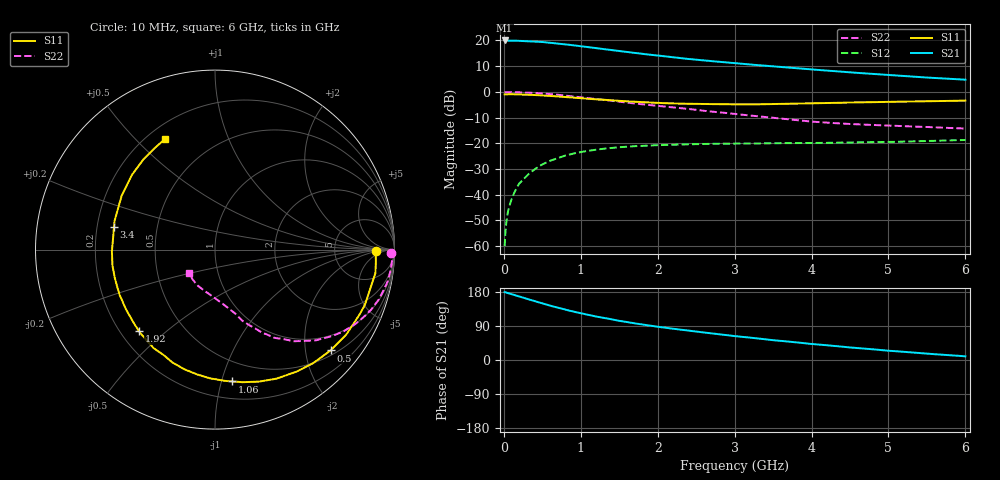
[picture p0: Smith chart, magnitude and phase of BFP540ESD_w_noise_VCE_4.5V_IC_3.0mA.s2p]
! Infineon Technologies  Discrete & RF Semiconductors
! BFP540ESD
! VCE =  4.5 V,  IC =  3.0 mA
! Common Emitter S-Parameters:  Nov 2015
# GHz  S  MA  R  50
!  f  S11  S21  S12  S22
! GHz  MAG  ANG  MAG  ANG  MAG  ANG  MAG  ANG
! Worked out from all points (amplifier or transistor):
!   210 points, 10 MHz to 6 GHz, reference 50 ohm
!   highest |S21| = 20.0 dB at 10 MHz (marker M1)
!   |S21| within 3 dB of that: start of sweep to 1.201 GHz
!   unconditionally stable (mu >= 1): 3.758 GHz to end of sweep
!   at 185 MHz: K = 0.08, MSG = 28.1 dB, |S12| = -36.4 dB
!   at 1.52 GHz: K = 0.34, MSG = 18.6 dB, |S12| = -21.5 dB
!   at 6 GHz: K = 1.31, MAG = 8.4 dB, |S12| = -18.7 dB
!   lowest NFmin = 0.63 dB at 900 MHz
!   S11 on the Smith chart (normalised r, x): 10 MHz: 18, -2; 500 MHz: 0.61, -2.54; 1.06 GHz: 0.33, -1.08; 1.92 GHz: 0.28, -0.41; 3.4 GHz: 0.27, +0.10; 6 GHz: 0.27, +0.61
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0.01  0.8957 -0.6  10.01 179.0  0.001 47.4  0.9813 -1.1
0.025  0.8964 -2.3  9.917 178.5  0.0022 65.3  0.9907 -1.0
0.045  0.8982 -3.7  9.923 177.1  0.004 75.1  0.9907 -2.0
0.135  0.8965 -11.2  9.924 171.7  0.0109 79.1  0.9864 -5.8
0.3  0.8818 -24.7  9.712 161.4  0.0236 76.5  0.9691 -12.8
0.5  0.8547 -41.1  9.34 149.3  0.0389 69.3  0.932 -21.1
0.6  0.8363 -49.1  9.017 143.4  0.0457 65.4  0.9066 -24.9
0.8  0.7966 -64.5  8.425 132.9  0.0579 58.1  0.8493 -32.4
0.9  0.7752 -71.6  8.076 127.8  0.0629 54.4  0.8187 -35.6
1.02  0.7492 -79.7  7.668 122.5  0.0686 51.1  0.7817 -39.2
1.06  0.7403 -82.7  7.543 120.7  0.0701 49.7  0.7689 -40.5
1.2  0.7177 -92.2  7.089 114.7  0.0753 45.3  0.7275 -44.3
1.5  0.6718 -110.8  6.233 103.4  0.0838 38.1  0.6445 -51.3
1.8  0.6319 -127.2  5.492 93.5  0.0892 32.1  0.5742 -57.2
1.92  0.6211 -132.9  5.26 90.3  0.0913 30.3  0.548 -59.0
2.02  0.6095 -138.1  5.065 87.1  0.0923 28.9  0.5295 -60.6
2.58  0.5809 -162.6  4.119 72.9  0.0969 22.0  0.4317 -68.3
3.1  0.5719 177.7  3.514 61.2  0.099 17.9  0.3599 -74.0
3.4  0.5765 167.4  3.225 54.7  0.1004 16.0  0.3242 -78.7
4.1  0.6028 147.6  2.665 40.7  0.1018 13.1  0.2583 -93.9
5.1  0.6438 126.9  2.086 23.1  0.1071 11.7  0.2187 -117.9
6  0.6769 114.2  1.728 9.7  0.1161 11.4  0.194 -137.5
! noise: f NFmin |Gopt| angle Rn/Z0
0.9  0.63  0.27  45  0.15
1.8  0.89  0.21  92  0.13
2.4  0.92  0.26  109  0.1
3  1.12  0.29  144  0.09
4  1.37  0.29  -141  0.15
5  1.69  0.42  -108  0.35
6  1.9  0.55  -106  0.52
